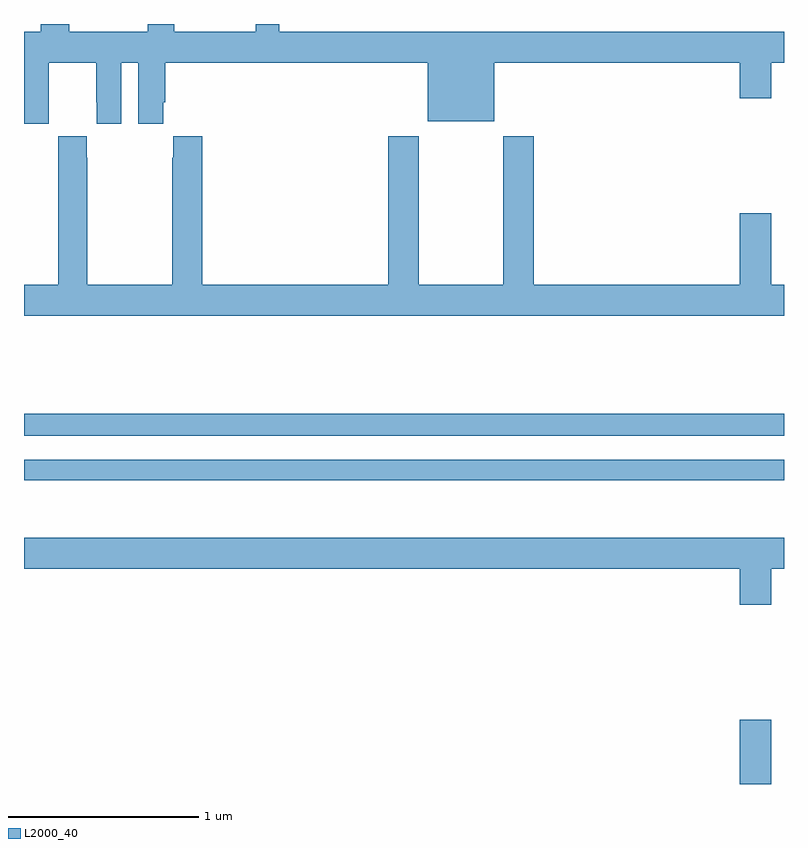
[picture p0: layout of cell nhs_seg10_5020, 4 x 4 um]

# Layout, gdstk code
import gdstk
lib = gdstk.Library(unit=1e-6, precision=1e-09)
def R(c, l, rs):  # rectangles x0, y0, x1, y1
    for r in rs: c.add(gdstk.rectangle(r[:2], r[2:], *l))
def P(c, l, *ps):  # polygons
    for p in ps: c.add(gdstk.Polygon(p, *l))
L2000_40 = (2000, 40)

nhs_seg10_5020 = lib.new_cell('nhs_seg10_5020')
R(nhs_seg10_5020, L2000_40, [(404.768,1316.5,404.932,1316.839), (401,1318.098,405,1318.206), (401,1318.332,405,1318.448)])
P(nhs_seg10_5020, L2000_40, [(401.651,1320.46),(401.239,1320.46),(401.239,1320.5),(401.087,1320.5),(401.087,1320.46),(401,1320.46),(401,1319.976),(401.13,1319.976),(401.13,1320.088),(401.131,1320.088),(401.131,1320.296),(401.381,1320.296),(401.381,1320.088),(401.382,1320.088),(401.382,1319.976),(401.512,1319.976),(401.512,1320.296),(401.6,1320.296),(401.6,1319.976),(401.734,1319.976),(401.734,1320.088),(401.744,1320.088),(401.744,1320.296),(403.124,1320.296),(403.124,1319.987),(403.474,1319.987),(403.474,1320.296),(404.768,1320.296),(404.768,1320.108),(404.932,1320.108),(404.932,1320.296),(405,1320.296),(405,1320.46),(402.343,1320.46),(402.343,1320.5),(402.221,1320.5),(402.221,1320.46),(401.791,1320.46),(401.791,1320.5),(401.651,1320.5)],
  [(405,1319.128),(404.932,1319.128),(404.932,1319.503),(404.768,1319.503),(404.768,1319.128),(403.682,1319.128),(403.682,1319.908),(403.522,1319.908),(403.522,1319.128),(403.077,1319.128),(403.077,1319.908),(402.917,1319.908),(402.917,1319.128),(401.939,1319.128),(401.939,1319.908),(401.785,1319.908),(401.785,1319.795),(401.779,1319.795),(401.779,1319.128),(401.334,1319.128),(401.334,1319.795),(401.331,1319.795),(401.331,1319.908),(401.181,1319.908),(401.181,1319.795),(401.179,1319.795),(401.179,1319.128),(401,1319.128),(401,1318.964),(405,1318.964)],
  [(404.932,1317.632),(405,1317.632),(405,1317.796),(401,1317.796),(401,1317.632),(404.768,1317.632),(404.768,1317.444),(404.932,1317.444)])

lib.write_gds('nhs_seg10_5020.gds')
